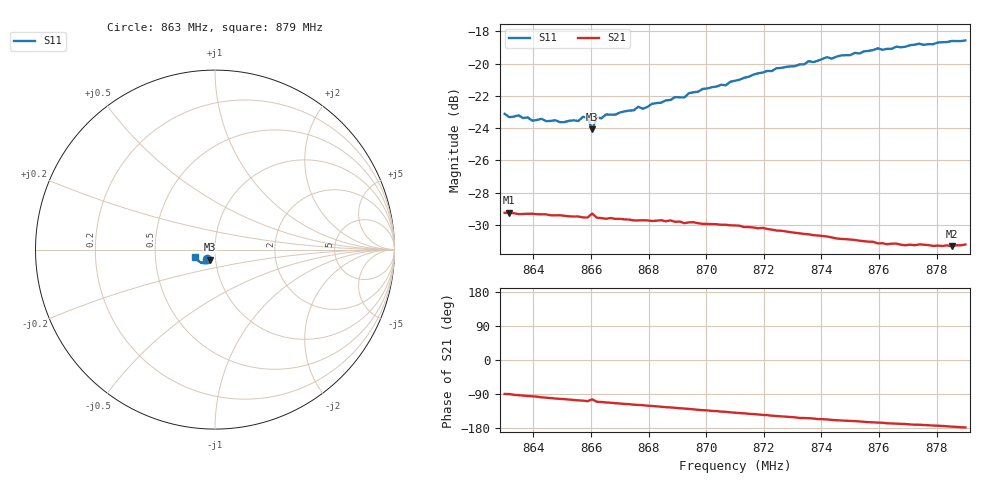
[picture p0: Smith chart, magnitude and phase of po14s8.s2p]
# HZ S RI R 50
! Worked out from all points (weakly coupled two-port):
!   101 points, 863 MHz to 879 MHz, reference 50 ohm
!   highest |S21| = -29.24 dB at 863.16 MHz (marker M1); lowest = -31.3 dB at 878.52 MHz (marker M2)
!   lowest |S11| = -24.1 dB at 866.04 MHz (marker M3), VSWR 1.13, Z = 47.1 - j5.33 ohm
!   |S11| at or under -10 dB: start of sweep to end of sweep
!   S12 and S22 are empty: the file has one direction only
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8.63e8  -0.0454 -0.0532  0.00024 -0.0345  0 0  0 0
8.6316e8  -0.0413 -0.0544  4.7e-05 -0.0345  0 0  0 0
8.6348e8  -0.0426 -0.0545  -0.00171 -0.0341  0 0  0 0
8.6396e8  -0.0394 -0.0537  -0.00346 -0.0341  0 0  0 0
8.6428e8  -0.0387 -0.0552  -0.00506 -0.0337  0 0  0 0
8.6492e8  -0.0359 -0.0552  -0.00733 -0.0331  0 0  0 0
8.6556e8  -0.0349 -0.0564  -0.00955 -0.0322  0 0  0 0
8.6572e8  -0.0355 -0.0585  -0.00991 -0.0319  0 0  0 0
8.6588e8  -0.0346 -0.0584  -0.0107 -0.0316  0 0  0 0
8.6604e8  -0.0271 -0.0564  -0.00818 -0.0333  0 0  0 0
8.662e8  -0.0343 -0.0589  -0.0115 -0.0313  0 0  0 0
8.6636e8  -0.0341 -0.0585  -0.0118 -0.031  0 0  0 0
8.6844e8  -0.0368 -0.0662  -0.018 -0.0273  0 0  0 0
8.71e8  -0.0478 -0.0745  -0.0238 -0.0207  0 0  0 0
8.7244e8  -0.06 -0.076  -0.0257 -0.0162  0 0  0 0
8.7372e8  -0.0679 -0.0749  -0.0265 -0.0127  0 0  0 0
8.742e8  -0.0743 -0.0739  -0.0268 -0.0114  0 0  0 0
8.7436e8  -0.0743 -0.0723  -0.0268 -0.0108  0 0  0 0
8.7596e8  -0.0895 -0.0667  -0.0268 -0.00711  0 0  0 0
8.7644e8  -0.0927 -0.0614  -0.027 -0.00603  0 0  0 0
8.7852e8  -0.1085 -0.0452  -0.0271 -0.00196  0 0  0 0
8.79e8  -0.1112 -0.0395  -0.0275 -0.00102  0 0  0 0
